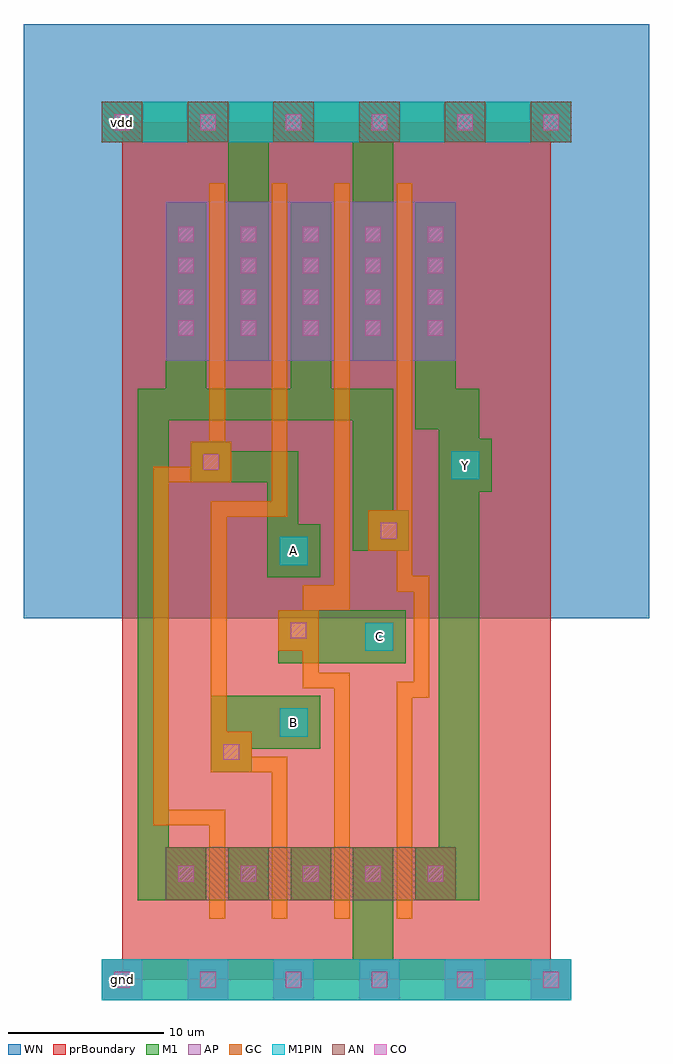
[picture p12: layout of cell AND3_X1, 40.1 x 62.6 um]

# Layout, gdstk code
import gdstk
lib = gdstk.Library(unit=1e-6, precision=1e-09)
def R(c, l, rs):  # rectangles x0, y0, x1, y1
    for r in rs: c.add(gdstk.rectangle(r[:2], r[2:], *l))
def A(c, l, x, y, w, h, nx, ny, dx, dy):  # array of equal rectangles
    R(c, l, [(x+i*dx, y+j*dy, x+i*dx+w, y+j*dy+h) for i in range(nx) for j in range(ny)])
def P(c, l, *ps):  # polygons
    for p in ps: c.add(gdstk.Polygon(p, *l))
AP = (3, 1)
AN = (3, 2)
GC = (8, 1)
CO = (11, 0)
M1 = (13, 0)
M1PIN = (48, 1)
WN = (140, 0)
prBoundary = (235, 0)

and3_x1 = lib.new_cell('AND3_X1')
A(and3_x1, AP, -1.3, -1.3, 2.6, 2.6, 6, 1, 5.5, 0)
R(and3_x1, AP, [(2.8,39.7,21.4,49.9), (2.8,39.7,21.4,49.9)])
A(and3_x1, AN, -1.3, 53.7, 2.6, 2.6, 6, 1, 5.5, 0)
R(and3_x1, AN, [(2.8,5.1,21.4,8.5)])
P(and3_x1, GC, [(13.6,3.9),(13.6,18.7),(11.6,18.7),(11.6,21.1),(10,21.1),(10,23.7),(11.6,23.7),(11.6,25.3),(13.6,25.3),(13.6,51.1),(14.6,51.1),(14.6,23.7),(12.6,23.7),(12.6,19.7),(14.6,19.7),(14.6,3.9)],
  [(5.6,3.9),(5.6,9.9),(2,9.9),(2,32.9),(4.4,32.9),(4.4,34.5),(5.6,34.5),(5.6,51.1),(6.6,51.1),(6.6,34.5),(7,34.5),(7,31.9),(3,31.9),(3,10.9),(6.6,10.9),(6.6,3.9)],
  [(9.6,3.9),(9.6,13.3),(5.7,13.3),(5.7,30.7),(9.6,30.7),(9.6,51.1),(10.6,51.1),(10.6,29.7),(6.7,29.7),(6.7,15.9),(8.3,15.9),(8.3,14.3),(10.6,14.3),(10.6,3.9)],
  [(17.6,3.9),(17.6,19.1),(18.7,19.1),(18.7,24.9),(17.6,24.9),(17.6,27.5),(15.8,27.5),(15.8,30.1),(17.6,30.1),(17.6,51.1),(18.6,51.1),(18.6,25.9),(19.7,25.9),(19.7,18.1),(18.6,18.1),(18.6,3.9)])
A(and3_x1, CO, -0.5, -0.5, 1, 1, 6, 2, 5.5, 55)
A(and3_x1, CO, 3.6, 41.3, 1, 1, 1, 4, 0, 2)
A(and3_x1, CO, 19.6, 41.3, 1, 1, 1, 4, 0, 2)
R(and3_x1, CO, [(3.6,6.3,4.6,7.3), (7.6,6.3,8.6,7.3), (7.6,6.3,8.6,7.3), (11.6,6.3,12.6,7.3), (11.6,6.3,12.6,7.3), (15.6,6.3,16.6,7.3), (15.6,6.3,16.6,7.3), (19.6,6.3,20.6,7.3), (6.5,14.1,7.5,15.1), (10.8,21.9,11.8,22.9), (16.6,28.3,17.6,29.3), (5.2,32.7,6.2,33.7), (7.6,41.3,8.6,42.3), (7.6,41.3,8.6,42.3), (11.6,41.3,12.6,42.3), (11.6,41.3,12.6,42.3), (15.6,41.3,16.6,42.3), (15.6,41.3,16.6,42.3), (7.6,43.3,8.6,44.3), (7.6,43.3,8.6,44.3), (11.6,43.3,12.6,44.3), (11.6,43.3,12.6,44.3), (15.6,43.3,16.6,44.3), (15.6,43.3,16.6,44.3), (7.6,45.3,8.6,46.3), (7.6,45.3,8.6,46.3), (11.6,45.3,12.6,46.3), (11.6,45.3,12.6,46.3), (15.6,45.3,16.6,46.3), (15.6,45.3,16.6,46.3), (7.6,47.3,8.6,48.3), (7.6,47.3,8.6,48.3), (11.6,47.3,12.6,48.3), (11.6,47.3,12.6,48.3), (15.6,47.3,16.6,48.3), (15.6,47.3,16.6,48.3)])
R(and3_x1, M1, [(6.8,5.1,9.4,8.5), (10.8,5.1,13.4,8.5), (10,20.3,18.2,23.7)])
P(and3_x1, M1, [(-1.3,-1.3),(-1.3,1.3),(14.8,1.3),(14.8,8.5),(17.4,8.5),(17.4,1.3),(28.8,1.3),(28.8,-1.3)],
  [(5.7,13.3),(5.7,18.2),(12.7,18.2),(12.7,14.8),(8.3,14.8),(8.3,13.3)],
  [(9.3,25.8),(9.3,31.9),(4.4,31.9),(4.4,34.5),(7,34.5),(7,33.9),(11.3,33.9),(11.3,29.2),(12.7,29.2),(12.7,25.8)],
  [(1,5.1),(1,37.9),(2.8,37.9),(2.8,49.9),(5.4,49.9),(5.4,37.9),(10.8,37.9),(10.8,49.9),(13.4,49.9),(13.4,37.9),(17.4,37.9),(17.4,30.1),(18.4,30.1),(18.4,27.5),(14.8,27.5),(14.8,35.9),(3,35.9),(3,8.5),(5.4,8.5),(5.4,5.1)],
  [(18.8,5.1),(18.8,8.5),(20.3,8.5),(20.3,35.3),(18.8,35.3),(18.8,49.9),(21.4,49.9),(21.4,37.9),(22.9,37.9),(22.9,34.7),(23.7,34.7),(23.7,31.3),(22.9,31.3),(22.9,5.1)],
  [(6.8,39.7),(6.8,53.7),(-1.3,53.7),(-1.3,56.3),(28.8,56.3),(28.8,53.7),(17.4,53.7),(17.4,39.7),(14.8,39.7),(14.8,53.7),(9.4,53.7),(9.4,39.7)])
R(and3_x1, M1PIN, [(-1.3,-1.3,28.8,1.3), (10.1,15.6,11.9,17.4), (15.6,21.1,17.4,22.9), (10.1,26.6,11.9,28.4), (21.1,32.1,22.9,33.9), (-1.3,53.7,28.8,56.3)])
R(and3_x1, WN, [(-6.3,23.2,33.8,61.3)])
R(and3_x1, prBoundary, [(0,0,27.5,55)])
and3_x1.add(gdstk.Label('vdd', (0,55), layer=48, texttype=0))
and3_x1.add(gdstk.Label('gnd', (0,0), layer=48, texttype=0))
and3_x1.add(gdstk.Label('Y', (22,33), layer=48, texttype=0))
and3_x1.add(gdstk.Label('A', (11,27.5), layer=48, texttype=0))
and3_x1.add(gdstk.Label('C', (16.5,22), layer=48, texttype=0))
and3_x1.add(gdstk.Label('B', (11,16.5), layer=48, texttype=0))

lib.write_gds('AND3_X1.gds')
